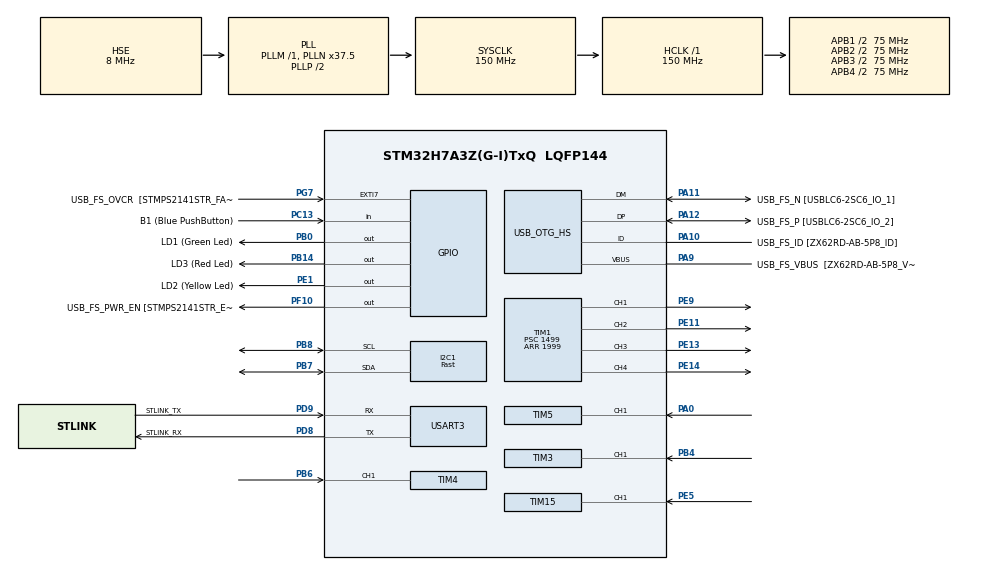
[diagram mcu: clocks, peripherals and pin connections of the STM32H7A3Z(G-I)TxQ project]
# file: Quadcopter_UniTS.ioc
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I2C1.I2C_Speed_Mode=I2C_Fast
I2C1.Timing=0x00702787
IWDG1.Prescaler=IWDG_PRESCALER_32
IWDG1.Reload=999
Mcu.Family=STM32H7
Mcu.Name=STM32H7A3Z(G-I)TxQ
Mcu.Package=LQFP144
NVIC.PriorityGroup=NVIC_PRIORITYGROUP_4
NVIC.TIM15_IRQn=true\:1\:0\:true\:false\:true\:true\:true\:true
NVIC.TIM2_IRQn=true\:0\:0\:true\:false\:true\:true\:true\:true
NVIC.TIM3_IRQn=true\:1\:0\:true\:false\:true\:true\:true\:true
NVIC.TIM4_IRQn=true\:1\:0\:true\:false\:true\:true\:true\:true
NVIC.TIM5_IRQn=true\:1\:0\:true\:false\:true\:true\:true\:true
PA0.Signal=S_TIM5_CH1
PA10.GPIO_Label=USB_FS_ID [ZX62RD-AB-5P8_ID]
PA10.Mode=OTG/Dual-Role-Device-FS
PA10.Signal=USB_OTG_HS_ID
PA11.GPIO_Label=USB_FS_N [USBLC6-2SC6_IO_1]
PA11.Mode=OTG/Dual-Role-Device-FS
PA11.Signal=USB_OTG_HS_DM
PA12.GPIO_Label=USB_FS_P [USBLC6-2SC6_IO_2]
PA12.Mode=OTG/Dual-Role-Device-FS
PA12.Signal=USB_OTG_HS_DP
PA9.GPIO_Label=USB_FS_VBUS  [ZX62RD-AB-5P8_VBUS]
PA9.Mode=Activate_VBUS_FS
PA9.Signal=USB_OTG_HS_VBUS
PB0.GPIO_Label=LD1 (Green Led)
PB0.Signal=GPIO_Output
PB14.GPIO_Label=LD3 (Red Led)
PB14.Signal=GPIO_Output
PB4.Signal=S_TIM3_CH1
PB6.Signal=S_TIM4_CH1
PB7.Mode=I2C
PB7.Signal=I2C1_SDA
PB8.Mode=I2C
PB8.Signal=I2C1_SCL
PC13.GPIO_Label=B1 (Blue PushButton)
PC13.Signal=GPIO_Input
PC14-OSC32_IN.GPIO_Label=OSC32_IN
PC14-OSC32_IN.Mode=LSE-External-Oscillator
PC14-OSC32_IN.Signal=RCC_OSC32_IN
PC15-OSC32_OUT.GPIO_Label=OSC32_OUT
PC15-OSC32_OUT.Mode=LSE-External-Oscillator
PC15-OSC32_OUT.Signal=RCC_OSC32_OUT
PD8.GPIO_Label=STLINK_RX
PD8.Mode=Asynchronous
PD8.Signal=USART3_TX
PD9.GPIO_Label=STLINK_TX
PD9.Mode=Asynchronous
PD9.Signal=USART3_RX
PE1.GPIO_Label=LD2 (Yellow Led)
PE1.Signal=GPIO_Output
PE11.Signal=S_TIM1_CH2
PE13.Signal=S_TIM1_CH3
PE14.Signal=S_TIM1_CH4
PE5.Signal=S_TIM15_CH1
PE9.Signal=S_TIM1_CH1
PF10.GPIO_Label=USB_FS_PWR_EN [STMPS2141STR_EN]
PF10.Signal=GPIO_Output
PG7.GPIO_Label=USB_FS_OVCR  [STMPS2141STR_FAULT]
PG7.Signal=GPXTI7
PH0-OSC_IN.GPIO_Label=PH0-MCU
PH0-OSC_IN.Mode=HSE-External-Oscillator
PH0-OSC_IN.Signal=RCC_OSC_IN
PH1-OSC_OUT.GPIO_Label=PH1-MCU
PH1-OSC_OUT.Mode=HSE-External-Oscillator
PH1-OSC_OUT.Signal=RCC_OSC_OUT
ProjectManager.HeapSize=0x200
ProjectManager.StackSize=0x400
ProjectManager.TargetToolchain=STM32CubeIDE
RCC.ADCFreq_Value=16125000
RCC.APB1Freq_Value=75000000
RCC.APB2Freq_Value=75000000
RCC.APB3Freq_Value=75000000
RCC.APB4Freq_Value=75000000
RCC.CDPPRE=RCC_APB3_DIV2
RCC.CDPPRE1=RCC_APB1_DIV2
RCC.CDPPRE2=RCC_APB2_DIV2
RCC.CortexFreq_Value=150000000
RCC.DIVM1=1
RCC.DIVM3=1
RCC.DIVN1=37
RCC.DIVN3=24
RCC.DIVQ1=4
RCC.HCLKFreq_Value=150000000
RCC.HSE_VALUE=8000000
RCC.PLLFRACN=4096
RCC.PLLSourceVirtual=RCC_PLLSOURCE_HSE
RCC.PWR_Regulator_Voltage_Scale=PWR_REGULATOR_VOLTAGE_SCALE0
RCC.SRDPPRE=RCC_APB4_DIV2
RCC.SYSCLKFreq_VALUE=150000000
RCC.SYSCLKSource=RCC_SYSCLKSOURCE_PLLCLK
RCC.SupplySource=PWR_DIRECT_SMPS_SUPPLY
RCC.USBCLockSelection=RCC_USBCLKSOURCE_HSI48
RCC.USBFreq_Value=48000000
SH.S_TIM15_CH1.0=TIM15_CH1,PWM_Input_1
SH.S_TIM1_CH1.0=TIM1_CH1,PWM Generation1 CH1
SH.S_TIM1_CH2.0=TIM1_CH2,PWM Generation2 CH2
SH.S_TIM1_CH3.0=TIM1_CH3,PWM Generation3 CH3
SH.S_TIM1_CH4.0=TIM1_CH4,PWM Generation4 CH4
SH.S_TIM3_CH1.0=TIM3_CH1,PWM_Input_1
SH.S_TIM4_CH1.0=TIM4_CH1,PWM_Input_1
SH.S_TIM5_CH1.0=TIM5_CH1,PWM_Input_1
TIM1.Channel-PWM\ Generation1\ CH1=TIM_CHANNEL_1
TIM1.Channel-PWM\ Generation2\ CH2=TIM_CHANNEL_2
TIM1.Channel-PWM\ Generation3\ CH3=TIM_CHANNEL_3
TIM1.Channel-PWM\ Generation4\ CH4=TIM_CHANNEL_4
TIM1.Period=1999
TIM1.Prescaler=1499
TIM15.Prescaler=639
TIM2.Period=499
TIM2.Prescaler=1499
TIM3.Prescaler=639
TIM4.Prescaler=639
TIM5.Period=65535
TIM5.Prescaler=639
USART3.VirtualMode-Asynchronous=VM_ASYNC
VP_IWDG1_VS_IWDG.Mode=IWDG_Activate
VP_TIM15_VS_ClockSourceINT.Mode=Internal
VP_TIM1_VS_ClockSourceINT.Mode=Internal
VP_TIM2_VS_ClockSourceINT.Mode=Internal
VP_TIM3_VS_ClockSourceINT.Mode=Internal
VP_TIM4_VS_ClockSourceINT.Mode=Internal
VP_TIM5_VS_ClockSourceINT.Mode=Internal
board=NUCLEO-H7A3ZI-Q

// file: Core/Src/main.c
/* USER CODE BEGIN Header */
/**
 ******************************************************************************
 * @file           : main.c
 * @brief          : Main program body
 ******************************************************************************
 * @attention
 *
 * Copyright (c) 2025 STMicroelectronics.
 * All rights reserved.
 *
 * This software is licensed under terms that can be found in the LICENSE file
 * in the root directory of this software component.
 * If no LICENSE file comes with this software, it is provided AS-IS.
 *
 ******************************************************************************
 */
/* USER CODE END Header */
#include "main.h"

/* USER CODE BEGIN Includes */

#include "motor.h"
#include "radio.h"
#include "control.h"
#include "orientation.h"
#include "filter.h"
#include "imu.h"
#include <stdint.h>
#include <stdlib.h>
#include <string.h>

/* USER CODE END Includes */

/* USER CODE BEGIN PD */
#define STABLE_INIT_CYCLES 3000
#define MAX_SAFE_ANGLE 20000
/* USER CODE END PD */

I2C_HandleTypeDef hi2c1;

IWDG_HandleTypeDef hiwdg1;

TIM_HandleTypeDef htim1;
TIM_HandleTypeDef htim2;
TIM_HandleTypeDef htim3;
TIM_HandleTypeDef htim4;
TIM_HandleTypeDef htim5;
TIM_HandleTypeDef htim15;

UART_HandleTypeDef huart3;

void SystemClock_Config(void);
static void MX_GPIO_Init(void);
static void MX_USART3_UART_Init(void);
static void MX_USB_OTG_HS_USB_Init(void);
static void MX_TIM1_Init(void);
static void MX_TIM3_Init(void);
static void MX_TIM4_Init(void);
static void MX_TIM5_Init(void);
static void MX_TIM15_Init(void);
static void MX_I2C1_Init(void);
static void MX_TIM2_Init(void);
static void MX_IWDG1_Init(void);
/* USER CODE BEGIN PFP */

Radio rc_comm_temp;
uint16_t motor_pwm[4] = {0.0, 0.0, 0.0, 0.0};
uint16_t motor_pwm_lim[4] = {0.0, 0.0, 0.0, 0.0};

uint32_t period_rc_0 = 0;
uint32_t period_rc_1 = 0;
uint32_t period_rc_2 = 0;
uint32_t period_rc_3 = 0;

uint32_t pulse_on_rc_0 = 0;
uint32_t pulse_on_rc_1 = 0;
uint32_t pulse_on_rc_2 = 0;
uint32_t pulse_on_rc_3 = 0;

float norm_comm_rc_0 = 0;
float norm_comm_rc_1 = 0;
float norm_comm_rc_2 = 0;
float norm_comm_rc_3 = 0;

uint16_t offset_rc_0 = 0;
uint16_t offset_rc_1 = 0;
uint16_t offset_rc_2 = 0;
uint16_t offset_rc_3 = 0;

volatile float dt_imu = 0.001;
volatile float dt_pid = 0.001;

volatile uint16_t motor_atom_flag;
volatile uint16_t motor_arming_flag = 0;
volatile uint16_t imu_flag = 0;
volatile uint16_t pid_flag = 0;

PID_Error control_error;
PID_Error former_error;

Euler rc_ref_euler, imu_est_euler;

PID_Out out_pid;

volatile uint16_t motor_throttle = MOTOR_MIN_PWM;
volatile uint16_t t = 0;

volatile uint32_t cycle_count = 0;

/* USER CODE END PFP */

/* USER CODE BEGIN 0 */
int _write(int32_t file, uint8_t *ptr, int32_t len)
{
	for (int i = 0; i < len; i++)
	{
		ITM_SendChar(*ptr++);
	}
	return len;
}

/* USER CODE END 0 */

int main(void)
{

	/* USER CODE BEGIN 1 */

	rc_ref_euler.pitch =  0;
	rc_ref_euler.roll =  0;
	rc_ref_euler.yaw =  0;

	imu_est_euler.pitch =  0;
	imu_est_euler.roll =  0;
	imu_est_euler.yaw =  0;

	rc_comm_temp.AIL = 0;
	rc_comm_temp.ELE = 0;
	rc_comm_temp.RUD = 0;
	rc_comm_temp.THR = 0;

	/* USER CODE END 1 */

	/* MCU Configuration--------------------------------------------------------*/

	/* Reset of all peripherals, Initializes the Flash interface and the Systick. */
	HAL_Init();

	/* Configure the system clock */
	SystemClock_Config();

	/* Initialize all configured peripherals */
	MX_GPIO_Init();
	MX_USART3_UART_Init();
	MX_USB_OTG_HS_USB_Init();
	MX_TIM1_Init();
	MX_TIM3_Init();
	MX_TIM4_Init();
	MX_TIM5_Init();
	MX_TIM15_Init();
	MX_I2C1_Init();
	MX_TIM2_Init();
	MX_IWDG1_Init();
	/* USER CODE BEGIN 2 */

	/*starting timer 1 at 50 hz for motor pwm generation, one channel for each motor*/
	HAL_TIM_PWM_Start(&htim1, TIM_CHANNEL_1);
	HAL_TIM_PWM_Start(&htim1, TIM_CHANNEL_2);
	HAL_TIM_PWM_Start(&htim1, TIM_CHANNEL_3);
	HAL_TIM_PWM_Start(&htim1, TIM_CHANNEL_4);

	/*rc command reading, one timer for each type of command and 2 channels for each type
     one  (ch_1)  is used to measure period
     and the other is used to measure duty cycle ch_2
	 */

	HAL_TIM_IC_Start(&htim3, TIM_CHANNEL_2);
	HAL_TIM_IC_Start_IT(&htim3, TIM_CHANNEL_1);

	HAL_TIM_IC_Start(&htim4, TIM_CHANNEL_2);
	HAL_TIM_IC_Start_IT(&htim4, TIM_CHANNEL_1);

	HAL_TIM_IC_Start(&htim5, TIM_CHANNEL_2);
	HAL_TIM_IC_Start_IT(&htim5, TIM_CHANNEL_1);

	HAL_TIM_IC_Start(&htim15, TIM_CHANNEL_2);
	HAL_TIM_IC_Start_IT(&htim15, TIM_CHANNEL_1);

	/* USER CODE END 2 */

	/* Infinite loop */
	/* USER CODE BEGIN WHILE */

	init_motors();
	imu_init(); // initializes the IMU
	orientation_init(); /*saves with hal_get_tick the time instant and optionally recalibrates the IMU*/
	calibrate_rc();

	init_pid();

	MX_IWDG1_Init(); // start watchdog
	HAL_TIM_Base_Start_IT(&htim2); // Start motor PWM timer

	uint16_t stable_init_counter = 0; // free loop cycles to improve PID stability

	while (1)
	{
		/* USER CODE END WHILE */

		/* USER CODE BEGIN 3 */

		get_target_euler(&rc_ref_euler, &rc_comm_temp);  /* Convert rc commands into reference euler angles*/

		if (imu_flag){
			orientation_update(&imu_est_euler); /* Get estimated euler angles from IMU*/
			imu_flag = 0;
		}

		if (pid_flag){

			// Normalized motor throttle
			motor_throttle = MAX_THROTTLE_RC * (float)rc_comm_temp.THR / RC_FULLSCALE * MOTOR_MAX_PWM + MOTOR_MIN_PWM * (1 - (float)rc_comm_temp.THR / RC_FULLSCALE);  // Scaled throttle

			pid_update(&out_pid, imu_est_euler, rc_ref_euler, motor_throttle);
			pid_flag = 0;

			// Safety angle check
			if ((abs(imu_est_euler.roll) < MAX_SAFE_ANGLE && abs(imu_est_euler.pitch) < MAX_SAFE_ANGLE) && (motor_throttle > MOTOR_MIN_PWM)) {
				mixing_formula(motor_pwm, motor_throttle, out_pid);
			}else {
				set_motor_pwm_zero(motor_pwm);
			}

		}

		// Initial free loops to stabilise system at rest
		if (stable_init_counter == STABLE_INIT_CYCLES) {
			motor_arming_flag = 1; // When ready, the motors will be armed
		} else {
			stable_init_counter++;
		}

	}
	/* USER CODE END 3 */
}

void SystemClock_Config(void)
{
	RCC_OscInitTypeDef RCC_OscInitStruct = {0};
	RCC_ClkInitTypeDef RCC_ClkInitStruct = {0};

	/*AXI clock gating */
	RCC->CKGAENR = 0xFFFFFFFF;

	/** Supply configuration update enable
	 */
	HAL_PWREx_ConfigSupply(PWR_DIRECT_SMPS_SUPPLY);

	/** Configure the main internal regulator output voltage
	 */
	__HAL_PWR_VOLTAGESCALING_CONFIG(PWR_REGULATOR_VOLTAGE_SCALE0);

	while(!__HAL_PWR_GET_FLAG(PWR_FLAG_VOSRDY)) {}

	/** Initializes the RCC Oscillators according to the specified parameters
	 * in the RCC_OscInitTypeDef structure.
	 */
	RCC_OscInitStruct.OscillatorType = RCC_OSCILLATORTYPE_HSI48|RCC_OSCILLATORTYPE_LSI
			|RCC_OSCILLATORTYPE_HSE;
	RCC_OscInitStruct.HSEState = RCC_HSE_ON;
	RCC_OscInitStruct.LSIState = RCC_LSI_ON;
	RCC_OscInitStruct.HSI48State = RCC_HSI48_ON;
	RCC_OscInitStruct.PLL.PLLState = RCC_PLL_ON;
	RCC_OscInitStruct.PLL.PLLSource = RCC_PLLSOURCE_HSE;
	RCC_OscInitStruct.PLL.PLLM = 1;
	RCC_OscInitStruct.PLL.PLLN = 37;
	RCC_OscInitStruct.PLL.PLLP = 2;
	RCC_OscInitStruct.PLL.PLLQ = 4;
	RCC_OscInitStruct.PLL.PLLR = 2;
	RCC_OscInitStruct.PLL.PLLRGE = RCC_PLL1VCIRANGE_3;
	RCC_OscInitStruct.PLL.PLLVCOSEL = RCC_PLL1VCOWIDE;
	RCC_OscInitStruct.PLL.PLLFRACN = 4096;
	if (HAL_RCC_OscConfig(&RCC_OscInitStruct) != HAL_OK)
	{
		Error_Handler();
	}

	/** Initializes the CPU, AHB and APB buses clocks
	 */
	RCC_ClkInitStruct.ClockType = RCC_CLOCKTYPE_HCLK|RCC_CLOCKTYPE_SYSCLK
			|RCC_CLOCKTYPE_PCLK1|RCC_CLOCKTYPE_PCLK2
			|RCC_CLOCKTYPE_D3PCLK1|RCC_CLOCKTYPE_D1PCLK1;
	RCC_ClkInitStruct.SYSCLKSource = RCC_SYSCLKSOURCE_PLLCLK;
	RCC_ClkInitStruct.SYSCLKDivider = RCC_SYSCLK_DIV1;
	RCC_ClkInitStruct.AHBCLKDivider = RCC_HCLK_DIV1;
	RCC_ClkInitStruct.APB3CLKDivider = RCC_APB3_DIV2;
	RCC_ClkInitStruct.APB1CLKDivider = RCC_APB1_DIV2;
	RCC_ClkInitStruct.APB2CLKDivider = RCC_APB2_DIV2;
	RCC_ClkInitStruct.APB4CLKDivider = RCC_APB4_DIV2;

	if (HAL_RCC_ClockConfig(&RCC_ClkInitStruct, FLASH_LATENCY_3) != HAL_OK)
	{
		Error_Handler();
	}
}

static void MX_I2C1_Init(void)
{

	hi2c1.Instance = I2C1;
	hi2c1.Init.Timing = 0x00702787;
	hi2c1.Init.OwnAddress1 = 0;
	hi2c1.Init.AddressingMode = I2C_ADDRESSINGMODE_7BIT;
	hi2c1.Init.DualAddressMode = I2C_DUALADDRESS_DISABLE;
	hi2c1.Init.OwnAddress2 = 0;
	hi2c1.Init.OwnAddress2Masks = I2C_OA2_NOMASK;
	hi2c1.Init.GeneralCallMode = I2C_GENERALCALL_DISABLE;
	hi2c1.Init.NoStretchMode = I2C_NOSTRETCH_DISABLE;
	if (HAL_I2C_Init(&hi2c1) != HAL_OK)
	{
		Error_Handler();
	}

	/** Configure Analogue filter
	 */
	if (HAL_I2CEx_ConfigAnalogFilter(&hi2c1, I2C_ANALOGFILTER_ENABLE) != HAL_OK)
	{
		Error_Handler();
	}

	/** Configure Digital filter
	 */
	if (HAL_I2CEx_ConfigDigitalFilter(&hi2c1, 0) != HAL_OK)
	{
		Error_Handler();
	}

}

static void MX_IWDG1_Init(void)
{

	hiwdg1.Instance = IWDG1;
	hiwdg1.Init.Prescaler = IWDG_PRESCALER_32;
	hiwdg1.Init.Window = 4095;
	hiwdg1.Init.Reload = 999;
	if (HAL_IWDG_Init(&hiwdg1) != HAL_OK)
	{
		Error_Handler();
	}

}

static void MX_TIM1_Init(void)
{

	TIM_ClockConfigTypeDef sClockSourceConfig = {0};
	TIM_MasterConfigTypeDef sMasterConfig = {0};
	TIM_OC_InitTypeDef sConfigOC = {0};
	TIM_BreakDeadTimeConfigTypeDef sBreakDeadTimeConfig = {0};

	htim1.Instance = TIM1;
	htim1.Init.Prescaler = 1499;
	htim1.Init.CounterMode = TIM_COUNTERMODE_UP;
	htim1.Init.Period = 1999;
	htim1.Init.ClockDivision = TIM_CLOCKDIVISION_DIV1;
	htim1.Init.RepetitionCounter = 0;
	htim1.Init.AutoReloadPreload = TIM_AUTORELOAD_PRELOAD_DISABLE;
	if (HAL_TIM_Base_Init(&htim1) != HAL_OK)
	{
		Error_Handler();
	}
	sClockSourceConfig.ClockSource = TIM_CLOCKSOURCE_INTERNAL;
	if (HAL_TIM_ConfigClockSource(&htim1, &sClockSourceConfig) != HAL_OK)
	{
		Error_Handler();
	}
	if (HAL_TIM_PWM_Init(&htim1) != HAL_OK)
	{
		Error_Handler();
	}
	sMasterConfig.MasterOutputTrigger = TIM_TRGO_RESET;
	sMasterConfig.MasterOutputTrigger2 = TIM_TRGO2_RESET;
	sMasterConfig.MasterSlaveMode = TIM_MASTERSLAVEMODE_DISABLE;
	if (HAL_TIMEx_MasterConfigSynchronization(&htim1, &sMasterConfig) != HAL_OK)
	{
		Error_Handler();
	}
	sConfigOC.OCMode = TIM_OCMODE_PWM1;
	sConfigOC.Pulse = 0;
	sConfigOC.OCPolarity = TIM_OCPOLARITY_HIGH;
	sConfigOC.OCNPolarity = TIM_OCNPOLARITY_HIGH;
	sConfigOC.OCFastMode = TIM_OCFAST_DISABLE;
	sConfigOC.OCIdleState = TIM_OCIDLESTATE_RESET;
	sConfigOC.OCNIdleState = TIM_OCNIDLESTATE_RESET;
	if (HAL_TIM_PWM_ConfigChannel(&htim1, &sConfigOC, TIM_CHANNEL_1) != HAL_OK)
	{
		Error_Handler();
	}
	if (HAL_TIM_PWM_ConfigChannel(&htim1, &sConfigOC, TIM_CHANNEL_2) != HAL_OK)
	{
		Error_Handler();
	}
	if (HAL_TIM_PWM_ConfigChannel(&htim1, &sConfigOC, TIM_CHANNEL_3) != HAL_OK)
	{
		Error_Handler();
	}
	if (HAL_TIM_PWM_ConfigChannel(&htim1, &sConfigOC, TIM_CHANNEL_4) != HAL_OK)
	{
		Error_Handler();
	}
	sBreakDeadTimeConfig.OffStateRunMode = TIM_OSSR_DISABLE;
	sBreakDeadTimeConfig.OffStateIDLEMode = TIM_OSSI_DISABLE;
	sBreakDeadTimeConfig.LockLevel = TIM_LOCKLEVEL_OFF;
	sBreakDeadTimeConfig.DeadTime = 0;
	sBreakDeadTimeConfig.BreakState = TIM_BREAK_DISABLE;
	sBreakDeadTimeConfig.BreakPolarity = TIM_BREAKPOLARITY_HIGH;
	sBreakDeadTimeConfig.BreakFilter = 0;
	sBreakDeadTimeConfig.Break2State = TIM_BREAK2_DISABLE;
	sBreakDeadTimeConfig.Break2Polarity = TIM_BREAK2POLARITY_HIGH;
	sBreakDeadTimeConfig.Break2Filter = 0;
	sBreakDeadTimeConfig.AutomaticOutput = TIM_AUTOMATICOUTPUT_DISABLE;
	if (HAL_TIMEx_ConfigBreakDeadTime(&htim1, &sBreakDeadTimeConfig) != HAL_OK)
	{
		Error_Handler();
	}
	HAL_TIM_MspPostInit(&htim1);

}

static void MX_TIM2_Init(void)
{

	TIM_ClockConfigTypeDef sClockSourceConfig = {0};
	TIM_MasterConfigTypeDef sMasterConfig = {0};

	htim2.Instance = TIM2;
	htim2.Init.Prescaler = 1499;
	htim2.Init.CounterMode = TIM_COUNTERMODE_UP;
	htim2.Init.Period = 499;
	htim2.Init.ClockDivision = TIM_CLOCKDIVISION_DIV1;
	htim2.Init.AutoReloadPreload = TIM_AUTORELOAD_PRELOAD_DISABLE;
	if (HAL_TIM_Base_Init(&htim2) != HAL_OK)
	{
		Error_Handler();
	}
	sClockSourceConfig.ClockSource = TIM_CLOCKSOURCE_INTERNAL;
	if (HAL_TIM_ConfigClockSource(&htim2, &sClockSourceConfig) != HAL_OK)
	{
		Error_Handler();
	}
	sMasterConfig.MasterOutputTrigger = TIM_TRGO_RESET;
	sMasterConfig.MasterSlaveMode = TIM_MASTERSLAVEMODE_DISABLE;
	if (HAL_TIMEx_MasterConfigSynchronization(&htim2, &sMasterConfig) != HAL_OK)
	{
		Error_Handler();
	}

}

static void MX_TIM3_Init(void)
{

	TIM_ClockConfigTypeDef sClockSourceConfig = {0};
	TIM_SlaveConfigTypeDef sSlaveConfig = {0};
	TIM_IC_InitTypeDef sConfigIC = {0};
	TIM_MasterConfigTypeDef sMasterConfig = {0};

	htim3.Instance = TIM3;
	htim3.Init.Prescaler = 639;
	htim3.Init.CounterMode = TIM_COUNTERMODE_UP;
	htim3.Init.Period = 65535;
	htim3.Init.ClockDivision = TIM_CLOCKDIVISION_DIV1;
	htim3.Init.AutoReloadPreload = TIM_AUTORELOAD_PRELOAD_DISABLE;
	if (HAL_TIM_Base_Init(&htim3) != HAL_OK)
	{
		Error_Handler();
	}
	sClockSourceConfig.ClockSource = TIM_CLOCKSOURCE_INTERNAL;
	if (HAL_TIM_ConfigClockSource(&htim3, &sClockSourceConfig) != HAL_OK)
	{
		Error_Handler();
	}
	if (HAL_TIM_IC_Init(&htim3) != HAL_OK)
	{
		Error_Handler();
	}
	sSlaveConfig.SlaveMode = TIM_SLAVEMODE_RESET;
	sSlaveConfig.InputTrigger = TIM_TS_TI1FP1;
	sSlaveConfig.TriggerPolarity = TIM_INPUTCHANNELPOLARITY_RISING;
	sSlaveConfig.TriggerPrescaler = TIM_ICPSC_DIV1;
	sSlaveConfig.TriggerFilter = 0;
	if (HAL_TIM_SlaveConfigSynchro(&htim3, &sSlaveConfig) != HAL_OK)
	{
		Error_Handler();
	}
	sConfigIC.ICPolarity = TIM_INPUTCHANNELPOLARITY_RISING;
	sConfigIC.ICSelection = TIM_ICSELECTION_DIRECTTI;
	sConfigIC.ICPrescaler = TIM_ICPSC_DIV1;
	sConfigIC.ICFilter = 0;
	if (HAL_TIM_IC_ConfigChannel(&htim3, &sConfigIC, TIM_CHANNEL_1) != HAL_OK)
	{
		Error_Handler();
	}
	sConfigIC.ICPolarity = TIM_INPUTCHANNELPOLARITY_FALLING;
	sConfigIC.ICSelection = TIM_ICSELECTION_INDIRECTTI;
	if (HAL_TIM_IC_ConfigChannel(&htim3, &sConfigIC, TIM_CHANNEL_2) != HAL_OK)
	{
		Error_Handler();
	}
	sMasterConfig.MasterOutputTrigger = TIM_TRGO_RESET;
	sMasterConfig.MasterSlaveMode = TIM_MASTERSLAVEMODE_DISABLE;
	if (HAL_TIMEx_MasterConfigSynchronization(&htim3, &sMasterConfig) != HAL_OK)
	{
		Error_Handler();
	}

}

static void MX_TIM4_Init(void)
{

	TIM_ClockConfigTypeDef sClockSourceConfig = {0};
	TIM_SlaveConfigTypeDef sSlaveConfig = {0};
	TIM_IC_InitTypeDef sConfigIC = {0};
	TIM_MasterConfigTypeDef sMasterConfig = {0};

	htim4.Instance = TIM4;
	htim4.Init.Prescaler = 639;
	htim4.Init.CounterMode = TIM_COUNTERMODE_UP;
	htim4.Init.Period = 65535;
	htim4.Init.ClockDivision = TIM_CLOCKDIVISION_DIV1;
	htim4.Init.AutoReloadPreload = TIM_AUTORELOAD_PRELOAD_DISABLE;
	if (HAL_TIM_Base_Init(&htim4) != HAL_OK)
	{
		Error_Handler();
	}
	sClockSourceConfig.ClockSource = TIM_CLOCKSOURCE_INTERNAL;
	if (HAL_TIM_ConfigClockSource(&htim4, &sClockSourceConfig) != HAL_OK)
	{
		Error_Handler();
	}
	if (HAL_TIM_IC_Init(&htim4) != HAL_OK)
	{
		Error_Handler();
	}
	sSlaveConfig.SlaveMode = TIM_SLAVEMODE_RESET;
	sSlaveConfig.InputTrigger = TIM_TS_TI1FP1;
	sSlaveConfig.TriggerPolarity = TIM_INPUTCHANNELPOLARITY_RISING;
	sSlaveConfig.TriggerPrescaler = TIM_ICPSC_DIV1;
	sSlaveConfig.TriggerFilter = 0;
	if (HAL_TIM_SlaveConfigSynchro(&htim4, &sSlaveConfig) != HAL_OK)
	{
		Error_Handler();
	}
	sConfigIC.ICPolarity = TIM_INPUTCHANNELPOLARITY_RISING;
	sConfigIC.ICSelection = TIM_ICSELECTION_DIRECTTI;
	sConfigIC.ICPrescaler = TIM_ICPSC_DIV1;
	sConfigIC.ICFilter = 0;
	if (HAL_TIM_IC_ConfigChannel(&htim4, &sConfigIC, TIM_CHANNEL_1) != HAL_OK)
	{
		Error_Handler();
	}
	sConfigIC.ICPolarity = TIM_INPUTCHANNELPOLARITY_FALLING;
	sConfigIC.ICSelection = TIM_ICSELECTION_INDIRECTTI;
	if (HAL_TIM_IC_ConfigChannel(&htim4, &sConfigIC, TIM_CHANNEL_2) != HAL_OK)
	{
		Error_Handler();
	}
	sMasterConfig.MasterOutputTrigger = TIM_TRGO_RESET;
	sMasterConfig.MasterSlaveMode = TIM_MASTERSLAVEMODE_DISABLE;
	if (HAL_TIMEx_MasterConfigSynchronization(&htim4, &sMasterConfig) != HAL_OK)
	{
		Error_Handler();
	}

}

static void MX_TIM5_Init(void)
{

	TIM_ClockConfigTypeDef sClockSourceConfig = {0};
	TIM_SlaveConfigTypeDef sSlaveConfig = {0};
	TIM_IC_InitTypeDef sConfigIC = {0};
	TIM_MasterConfigTypeDef sMasterConfig = {0};

	htim5.Instance = TIM5;
	htim5.Init.Prescaler = 639;
	htim5.Init.CounterMode = TIM_COUNTERMODE_UP;
	htim5.Init.Period = 65535;
	htim5.Init.ClockDivision = TIM_CLOCKDIVISION_DIV1;
	htim5.Init.AutoReloadPreload = TIM_AUTORELOAD_PRELOAD_DISABLE;
	if (HAL_TIM_Base_Init(&htim5) != HAL_OK)
	{
		Error_Handler();
	}
	sClockSourceConfig.ClockSource = TIM_CLOCKSOURCE_INTERNAL;
	if (HAL_TIM_ConfigClockSource(&htim5, &sClockSourceConfig) != HAL_OK)
	{
		Error_Handler();
	}
	if (HAL_TIM_IC_Init(&htim5) != HAL_OK)
	{
		Error_Handler();
	}
	sSlaveConfig.SlaveMode = TIM_SLAVEMODE_RESET;
	sSlaveConfig.InputTrigger = TIM_TS_TI1FP1;
	sSlaveConfig.TriggerPolarity = TIM_INPUTCHANNELPOLARITY_RISING;
	sSlaveConfig.TriggerPrescaler = TIM_ICPSC_DIV1;
	sSlaveConfig.TriggerFilter = 0;
	if (HAL_TIM_SlaveConfigSynchro(&htim5, &sSlaveConfig) != HAL_OK)
	{
		Error_Handler();
	}
	sConfigIC.ICPolarity = TIM_INPUTCHANNELPOLARITY_RISING;
	sConfigIC.ICSelection = TIM_ICSELECTION_DIRECTTI;
	sConfigIC.ICPrescaler = TIM_ICPSC_DIV1;
	sConfigIC.ICFilter = 0;
	if (HAL_TIM_IC_ConfigChannel(&htim5, &sConfigIC, TIM_CHANNEL_1) != HAL_OK)
	{
		Error_Handler();
	}
	sConfigIC.ICPolarity = TIM_INPUTCHANNELPOLARITY_FALLING;
	sConfigIC.ICSelection = TIM_ICSELECTION_INDIRECTTI;
	if (HAL_TIM_IC_ConfigChannel(&htim5, &sConfigIC, TIM_CHANNEL_2) != HAL_OK)
	{
		Error_Handler();
	}
	sMasterConfig.MasterOutputTrigger = TIM_TRGO_RESET;
	sMasterConfig.MasterSlaveMode = TIM_MASTERSLAVEMODE_DISABLE;
	if (HAL_TIMEx_MasterConfigSynchronization(&htim5, &sMasterConfig) != HAL_OK)
	{
		Error_Handler();
	}

}

static void MX_TIM15_Init(void)
{

	TIM_ClockConfigTypeDef sClockSourceConfig = {0};
	TIM_SlaveConfigTypeDef sSlaveConfig = {0};
	TIM_IC_InitTypeDef sConfigIC = {0};
	TIM_MasterConfigTypeDef sMasterConfig = {0};

	htim15.Instance = TIM15;
	htim15.Init.Prescaler = 639;
	htim15.Init.CounterMode = TIM_COUNTERMODE_UP;
	htim15.Init.Period = 65535;
	htim15.Init.ClockDivision = TIM_CLOCKDIVISION_DIV1;
	htim15.Init.RepetitionCounter = 0;
	htim15.Init.AutoReloadPreload = TIM_AUTORELOAD_PRELOAD_DISABLE;
	if (HAL_TIM_Base_Init(&htim15) != HAL_OK)
	{
		Error_Handler();
	}
	sClockSourceConfig.ClockSource = TIM_CLOCKSOURCE_INTERNAL;
	if (HAL_TIM_ConfigClockSource(&htim15, &sClockSourceConfig) != HAL_OK)
	{
		Error_Handler();
	}
	if (HAL_TIM_IC_Init(&htim15) != HAL_OK)
	{
		Error_Handler();
	}
	sSlaveConfig.SlaveMode = TIM_SLAVEMODE_RESET;
	sSlaveConfig.InputTrigger = TIM_TS_TI1FP1;
	sSlaveConfig.TriggerPolarity = TIM_INPUTCHANNELPOLARITY_RISING;
	sSlaveConfig.TriggerPrescaler = TIM_ICPSC_DIV1;
	sSlaveConfig.TriggerFilter = 0;
	if (HAL_TIM_SlaveConfigSynchro(&htim15, &sSlaveConfig) != HAL_OK)
	{
		Error_Handler();
	}
	sConfigIC.ICPolarity = TIM_INPUTCHANNELPOLARITY_RISING;
	sConfigIC.ICSelection = TIM_ICSELECTION_DIRECTTI;
	sConfigIC.ICPrescaler = TIM_ICPSC_DIV1;
	sConfigIC.ICFilter = 0;
	if (HAL_TIM_IC_ConfigChannel(&htim15, &sConfigIC, TIM_CHANNEL_1) != HAL_OK)
	{
		Error_Handler();
	}
	sConfigIC.ICPolarity = TIM_INPUTCHANNELPOLARITY_FALLING;
	sConfigIC.ICSelection = TIM_ICSELECTION_INDIRECTTI;
	if (HAL_TIM_IC_ConfigChannel(&htim15, &sConfigIC, TIM_CHANNEL_2) != HAL_OK)
	{
		Error_Handler();
	}
	sMasterConfig.MasterOutputTrigger = TIM_TRGO_RESET;
	sMasterConfig.MasterSlaveMode = TIM_MASTERSLAVEMODE_DISABLE;
	if (HAL_TIMEx_MasterConfigSynchronization(&htim15, &sMasterConfig) != HAL_OK)
	{
		Error_Handler();
	}

}

static void MX_USART3_UART_Init(void)
{

	huart3.Instance = USART3;
	huart3.Init.BaudRate = 115200;
	huart3.Init.WordLength = UART_WORDLENGTH_8B;
	huart3.Init.StopBits = UART_STOPBITS_1;
	huart3.Init.Parity = UART_PARITY_NONE;
	huart3.Init.Mode = UART_MODE_TX_RX;
	huart3.Init.HwFlowCtl = UART_HWCONTROL_NONE;
	huart3.Init.OverSampling = UART_OVERSAMPLING_16;
	huart3.Init.OneBitSampling = UART_ONE_BIT_SAMPLE_DISABLE;
	huart3.Init.ClockPrescaler = UART_PRESCALER_DIV1;
	huart3.AdvancedInit.AdvFeatureInit = UART_ADVFEATURE_NO_INIT;
	if (HAL_UART_Init(&huart3) != HAL_OK)
	{
		Error_Handler();
	}
	if (HAL_UARTEx_SetTxFifoThreshold(&huart3, UART_TXFIFO_THRESHOLD_1_8) != HAL_OK)
	{
		Error_Handler();
	}
	if (HAL_UARTEx_SetRxFifoThreshold(&huart3, UART_RXFIFO_THRESHOLD_1_8) != HAL_OK)
	{
		Error_Handler();
	}
	if (HAL_UARTEx_DisableFifoMode(&huart3) != HAL_OK)
	{
		Error_Handler();
	}

}

static void MX_USB_OTG_HS_USB_Init(void)
{

}

static void MX_GPIO_Init(void)
{
	GPIO_InitTypeDef GPIO_InitStruct = {0};

	/* GPIO Ports Clock Enable */
	__HAL_RCC_GPIOE_CLK_ENABLE();
	__HAL_RCC_GPIOC_CLK_ENABLE();
	__HAL_RCC_GPIOF_CLK_ENABLE();
	__HAL_RCC_GPIOH_CLK_ENABLE();
	__HAL_RCC_GPIOA_CLK_ENABLE();
	__HAL_RCC_GPIOB_CLK_ENABLE();
	__HAL_RCC_GPIOD_CLK_ENABLE();
	__HAL_RCC_GPIOG_CLK_ENABLE();

	/*Configure GPIO pin Output Level */
	HAL_GPIO_WritePin(USB_FS_PWR_EN_GPIO_Port, USB_FS_PWR_EN_Pin, GPIO_PIN_RESET);

	/*Configure GPIO pin Output Level */
	HAL_GPIO_WritePin(GPIOB, LD1_Pin|LD3_Pin, GPIO_PIN_RESET);

	/*Configure GPIO pin Output Level */
	HAL_GPIO_WritePin(LD2_GPIO_Port, LD2_Pin, GPIO_PIN_RESET);

	/*Configure GPIO pin : B1_Pin */
	GPIO_InitStruct.Pin = B1_Pin;
	GPIO_InitStruct.Mode = GPIO_MODE_INPUT;
	GPIO_InitStruct.Pull = GPIO_NOPULL;
	HAL_GPIO_Init(B1_GPIO_Port, &GPIO_InitStruct);

	/*Configure GPIO pin : USB_FS_PWR_EN_Pin */
	GPIO_InitStruct.Pin = USB_FS_PWR_EN_Pin;
	GPIO_InitStruct.Mode = GPIO_MODE_OUTPUT_PP;
	GPIO_InitStruct.Pull = GPIO_NOPULL;
	GPIO_InitStruct.Speed = GPIO_SPEED_FREQ_LOW;
	HAL_GPIO_Init(USB_FS_PWR_EN_GPIO_Port, &GPIO_InitStruct);

	/*Configure GPIO pins : LD1_Pin LD3_Pin */
	GPIO_InitStruct.Pin = LD1_Pin|LD3_Pin;
	GPIO_InitStruct.Mode = GPIO_MODE_OUTPUT_PP;
	GPIO_InitStruct.Pull = GPIO_NOPULL;
	GPIO_InitStruct.Speed = GPIO_SPEED_FREQ_LOW;
	HAL_GPIO_Init(GPIOB, &GPIO_InitStruct);

	/*Configure GPIO pin : USB_FS_OVCR_Pin */
	GPIO_InitStruct.Pin = USB_FS_OVCR_Pin;
	GPIO_InitStruct.Mode = GPIO_MODE_IT_RISING;
	GPIO_InitStruct.Pull = GPIO_NOPULL;
	HAL_GPIO_Init(USB_FS_OVCR_GPIO_Port, &GPIO_InitStruct);

	/*Configure GPIO pin : USB_FS_VBUS_Pin */
	GPIO_InitStruct.Pin = USB_FS_VBUS_Pin;
	GPIO_InitStruct.Mode = GPIO_MODE_INPUT;
	GPIO_InitStruct.Pull = GPIO_NOPULL;
	HAL_GPIO_Init(USB_FS_VBUS_GPIO_Port, &GPIO_InitStruct);

	/*Configure GPIO pin : USB_FS_ID_Pin */
	GPIO_InitStruct.Pin = USB_FS_ID_Pin;
	GPIO_InitStruct.Mode = GPIO_MODE_AF_PP;
	GPIO_InitStruct.Pull = GPIO_NOPULL;
	GPIO_InitStruct.Speed = GPIO_SPEED_FREQ_LOW;
	GPIO_InitStruct.Alternate = GPIO_AF10_OTG1_HS;
	HAL_GPIO_Init(USB_FS_ID_GPIO_Port, &GPIO_InitStruct);

	/*Configure GPIO pins : USB_FS_N_Pin USB_FS_P_Pin */
	GPIO_InitStruct.Pin = USB_FS_N_Pin|USB_FS_P_Pin;
	GPIO_InitStruct.Mode = GPIO_MODE_AF_PP;
	GPIO_InitStruct.Pull = GPIO_NOPULL;
	GPIO_InitStruct.Speed = GPIO_SPEED_FREQ_LOW;
	HAL_GPIO_Init(GPIOA, &GPIO_InitStruct);

	/*Configure GPIO pin : LD2_Pin */
	GPIO_InitStruct.Pin = LD2_Pin;
	GPIO_InitStruct.Mode = GPIO_MODE_OUTPUT_PP;
	GPIO_InitStruct.Pull = GPIO_NOPULL;
	GPIO_InitStruct.Speed = GPIO_SPEED_FREQ_LOW;
	HAL_GPIO_Init(LD2_GPIO_Port, &GPIO_InitStruct);

}

/* USER CODE BEGIN 4 */

void Handle_RC_Input(TIM_HandleTypeDef *htim, uint32_t *period, uint32_t *pulse, uint32_t offset, float *norm_comm, float *rc_output, uint8_t isThrottle)
{
	/*
	 * Helper for normalising RC commands
	 */

	*period = HAL_TIM_ReadCapturedValue(htim, TIM_CHANNEL_1);
	*pulse  = HAL_TIM_ReadCapturedValue(htim, TIM_CHANNEL_2) * 10;

	if (*period > 2000 && *period < 5000 && *pulse > 0 && *period > *pulse) {
		float duty_current = (float)(*pulse) / (float)(*period);
		float duty_center = (float)(offset) / (float)(*period);
		*norm_comm = isThrottle
				? (duty_current - duty_center) / (1.0f - duty_center)           // Normalize to [0,1]
						: (duty_current - duty_center) / (1.0f - duty_center);  // Normalize to [-1,1] (same formula here; adjust if needed)
		*rc_output = (*norm_comm) * RC_FULLSCALE;

		HAL_IWDG_Refresh(&hiwdg1); // pet the watchdog
	}
}

void HAL_TIM_PeriodElapsedCallback(TIM_HandleTypeDef *htim) {

	if (htim->Instance == TIM2) {  // TIM2 runs at 200 Hz

		// Timing handling
		if (cycle_count == 3 && motor_arming_flag) {
			// Set the motors with the most recent data
			set_motor_pwm(motor_pwm, motor_pwm_lim);   // When cycle_count == 3, update motor PWM
			                            // This happens at 50 Hz (every 4 cycles)
		}

		imu_flag = 1;  // Set imu_flag = 1 every cycle (200 Hz)
		               // This allows IMU data (angles) to be updated every 5 ms
		               // Updating angles more frequently improves gyro integration accuracy

		if (cycle_count == 1) {
			pid_flag = 1;  // When cycle_count == 1 (every 200 Hz, but offset from motor update),
			               // compute new PID values
		}

		if (cycle_count == 3) {
			cycle_count = 0;  // Reset cycle_count after reaching 3
		} else {
			cycle_count++;
		}
	}
}

void HAL_TIM_IC_CaptureCallback(TIM_HandleTypeDef *htim)
{
	switch ((uint32_t)htim->Instance) {
		case (uint32_t)TIM3:
				Handle_RC_Input(htim, &period_rc_0, &pulse_on_rc_0, offset_rc_0, &norm_comm_rc_0, &rc_comm_temp.AIL, 0);
				break;

		case (uint32_t)TIM4:
				Handle_RC_Input(htim, &period_rc_1, &pulse_on_rc_1, offset_rc_1, &norm_comm_rc_1, &rc_comm_temp.ELE, 0);
				break;

		case (uint32_t)TIM5:
				Handle_RC_Input(htim, &period_rc_2, &pulse_on_rc_2, offset_rc_2, &norm_comm_rc_2, &rc_comm_temp.RUD, 0);
				break;

		case (uint32_t)TIM15:
				Handle_RC_Input(htim, &period_rc_3, &pulse_on_rc_3, offset_rc_3, &norm_comm_rc_3, &rc_comm_temp.THR, 1);
				break;

		default:
			break;
	}
}

/* USER CODE END 4 */

void Error_Handler(void)
{
	__disable_irq();
	while (1)
	{
	}
}
